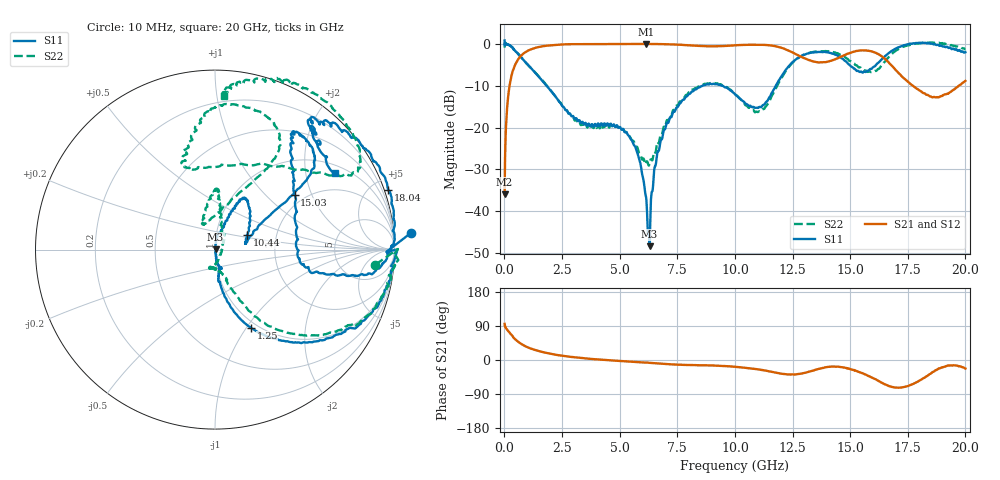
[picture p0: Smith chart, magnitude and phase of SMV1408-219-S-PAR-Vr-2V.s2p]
! Skyworks SMV1408-219 De-embedded S-Parameter Data
! Created  11-5-2013
! 2 Port Network Data
! Mounted on Board # SK41159-3 Rev 1 in Series, Cathode is connected to RF1 as Input( Pin 1) and Anode is connected RF2 as Output(Pin 2)
! Temperature = +25 °C
! RF traces and connectors are de-embedded using TRL calibration and standards
! Reference planes are package pins
! Pin 1 Input port (S-Port1), Pin 2 Output port (S-port2)
! Pin = 0 dBm, Bias: Vr = 2V
! Dev # 1
#  HZ  S  DB  R  50.00
! Rohde & Schwarz ZVA24 4Ports - Version 2.90 - 1145.1110k26 SN: 100216
! Date: 2013-11-05 15:24:48
! Measurements: S11 S21 S12 S22
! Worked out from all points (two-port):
!   2000 points, 10 MHz to 20 GHz, reference 50 ohm
!   highest |S21| = -0.06 dB at 6.14 GHz (marker M1); lowest = -35.9 dB at 10 MHz (marker M2)
!   |S21| within 3 dB of the highest: 688.1 MHz to 12.85 GHz (12.16 GHz wide, 180 % of centre); 14.63 GHz to 16.38 GHz (1.753 GHz wide, 11.3 % of centre)
!   lowest |S11| = -48.3 dB at 6.3 GHz (marker M3), VSWR 1.01, Z = 50.3 + j0.243 ohm
!   |S11| at or under -10 dB: 1.826 GHz to 8.608 GHz (6.781 GHz wide, 130 % of centre); 9.419 GHz to 11.78 GHz (2.36 GHz wide, 22.3 % of centre)
!   |S22| runs from -29.1 to 0.3 dB; largest |S21 - S12| = 0.022
!   S11 on the Smith chart (normalised r, x): 10 MHz: -12, +11; 1.25 GHz: 0.93, -1.05; 10.44 GHz: 1.41, +0.24; 15.03 GHz: 1.77, +1.51; 18.04 GHz: -0.37, +5.99; 20 GHz: 1.27, +2.91
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1e7  0.77 4.8  -35.94 95.3  -36.26 82.0  -0.94 -5.3
1.5e8  -0.20 -13.1  -13.30 77.7  -13.34 77.4  -0.17 -12.6
3.2e8  -0.82 -26.0  -7.38 65.4  -7.38 65.4  -0.75 -25.2
1.25e9  -6.39 -65.4  -1.15 28.0  -1.16 28.0  -6.39 -56.9
3.35e9  -18.88 -77.1  -0.09 5.2  -0.09 5.1  -19.28 -87.8
5.35e9  -21.68 -80.3  -0.07 -3.9  -0.08 -3.7  -21.69 -88.4
5.84e9  -27.36 -78.5  -0.06 -5.9  -0.07 -5.6  -26.08 -65.1
6.14e9  -36.38 -76.5  -0.06 -6.8  -0.07 -7.0  -28.46 -31.7
6.3e9  -48.29 38.9  -0.07 -7.5  -0.07 -7.6  -28.51 -3.3
6.68e9  -25.65 81.1  -0.09 -9.3  -0.10 -9.1  -23.71 48.2
8.19e9  -11.32 64.3  -0.43 -13.4  -0.44 -13.5  -10.96 86.6
1.001e10  -12.06 38.7  -0.39 -18.0  -0.39 -17.9  -12.02 100.1
1.044e10  -14.19 24.4  -0.27 -20.6  -0.28 -20.3  -14.59 109.5
1.119e10  -14.81 13.2  -0.26 -26.5  -0.27 -26.2  -15.70 105.1
1.334e10  -2.09 46.7  -4.14 -28.7  -4.14 -28.3  -2.03 68.1
1.423e10  -2.37 55.4  -3.96 -17.5  -3.96 -17.2  -1.94 89.5
1.503e10  -5.38 34.4  -2.14 -24.3  -2.14 -24.0  -4.21 103.8
1.578e10  -6.48 -6.6  -1.67 -41.8  -1.67 -41.6  -6.73 102.5
1.667e10  -2.25 -10.8  -4.47 -68.2  -4.47 -68.0  -3.26 39.0
1.804e10  0.17 18.9  -11.25 -53.2  -11.25 -52.9  0.15 45.0
1.89e10  -0.52 46.8  -12.58 -21.7  -12.59 -20.8  0.12 68.4
2e10  -2.03 32.7  -8.86 -22.5  -8.88 -22.0  -1.35 86.5
